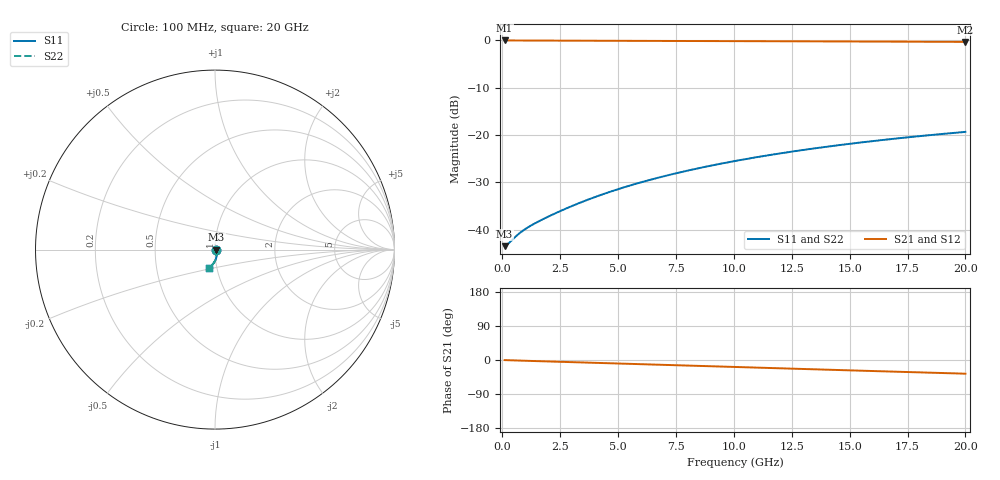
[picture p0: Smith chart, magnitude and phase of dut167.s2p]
! Touchstone file exported from HFSS 2026.1.0
!  File:  C:/ffzhzh/LocalFiles/Ansys_Project_Files/temp_train_BSMRDL_167_1782986914_40604.aedt
!  Generated:  06:10:07 PM Jul  2, 2026
!  Design:  BSMRDL
!  Project:  temp_train_BSMRDL_167_1782986914_40604
! Variables:
!  h_bsmrdl = 3.02um
!  h_ox = 20um
!  h_rdl = 5um
!  h_sub = 80um
!  h_tmrdl = 5um
!  h_tsv = 80um
!  h_via = 3um
!  l_bsmrdl = 634.99um
!  l_sub = 1034.99um
!  l_tmrdl = 200um
!  m_sub = 200um
!  pitch = 12.98um
!  r_tsv = 6um
!  s_tmrdl = 10um
!  w_bsmrdl = 11.26um
!  w_sub = 500um
!  w_tmrdl = 12um
!  x_tsv_center1 = 206um
!  x_tsv_center2 = 852.25um
!  x_tsv_center3 = 1064.25um
!  x_tsv_center4 = 1710.5um
!  x_tsv_center5 = 1922.5um
!  x_tsv_center6 = 2568.75um
# GHz S MA R 50.000000
! Terminal data exported
! Port[1] = BSM_RDL1_1_T1
! Port[2] = BSM_RDL1_1_T2
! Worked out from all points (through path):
!   200 points, 100 MHz to 20 GHz, reference 50 ohm
!   highest |S21| = -0.06 dB at 100 MHz (marker M1); lowest = -0.4 dB at 20 GHz (marker M2)
!   group delay of S21, straight-line fit = 4.99 ps
!   lowest |S11| = -43.5 dB at 100 MHz (marker M3), VSWR 1.01, Z = 50.7 + j0.0192 ohm
!   |S11| at or under -10 dB: start of sweep to end of sweep
!   |S22| runs from -43.5 to -19.4 dB; largest |S21 - S12| = 3.3e-15
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0.1  0.006696 1.6  0.9933 -0.2  0.9933 -0.2  0.006696 1.6
! Gamma 0 0 0 0
! Port Impedance 50 0 50 0
0.2  0.006931 2.7  0.9931 -0.4  0.9931 -0.4  0.006931 2.7
0.6  0.008563 -1.5  0.9914 -1.3  0.9914 -1.3  0.008562 -1.5
0.8  0.009403 -6.4  0.9906 -1.7  0.9906 -1.7  0.009402 -6.4
1  0.01018 -11.8  0.99 -2.0  0.99 -2.0  0.01018 -11.8
1.3  0.01127 -19.5  0.9892 -2.6  0.9892 -2.6  0.01127 -19.5
1.7  0.0127 -28.6  0.9885 -3.3  0.9885 -3.3  0.01269 -28.6
2.3  0.01492 -39.5  0.9877 -4.4  0.9877 -4.4  0.01491 -39.6
2.9  0.01732 -47.9  0.9871 -5.5  0.9871 -5.5  0.0173 -47.9
3.5  0.01986 -54.3  0.9865 -6.6  0.9865 -6.6  0.01984 -54.4
4.3  0.02346 -61.0  0.9856 -8.1  0.9856 -8.1  0.02342 -61.1
5.1  0.02723 -66.1  0.9847 -9.6  0.9847 -9.6  0.02719 -66.2
5.9  0.03115 -70.3  0.9837 -11.0  0.9837 -11.0  0.0311 -70.5
6.8  0.03571 -74.3  0.9824 -12.7  0.9824 -12.7  0.03565 -74.4
8.4  0.04411 -80.0  0.98 -15.6  0.98 -15.6  0.04402 -80.3
10.1  0.05333 -85.2  0.9772 -18.6  0.9772 -18.6  0.05321 -85.5
11.7  0.06218 -89.5  0.9745 -21.5  0.9745 -21.5  0.06203 -89.8
13.4  0.07167 -93.7  0.9715 -24.5  0.9715 -24.5  0.07148 -94.1
15  0.08058 -97.5  0.9686 -27.4  0.9686 -27.4  0.08036 -97.9
16.7  0.08997 -101.4  0.9656 -30.3  0.9656 -30.3  0.0897 -101.8
18.3  0.09864 -104.9  0.9627 -33.1  0.9627 -33.1  0.09834 -105.4
20  0.1076 -108.5  0.9597 -36.1  0.9597 -36.1  0.1073 -109.1
